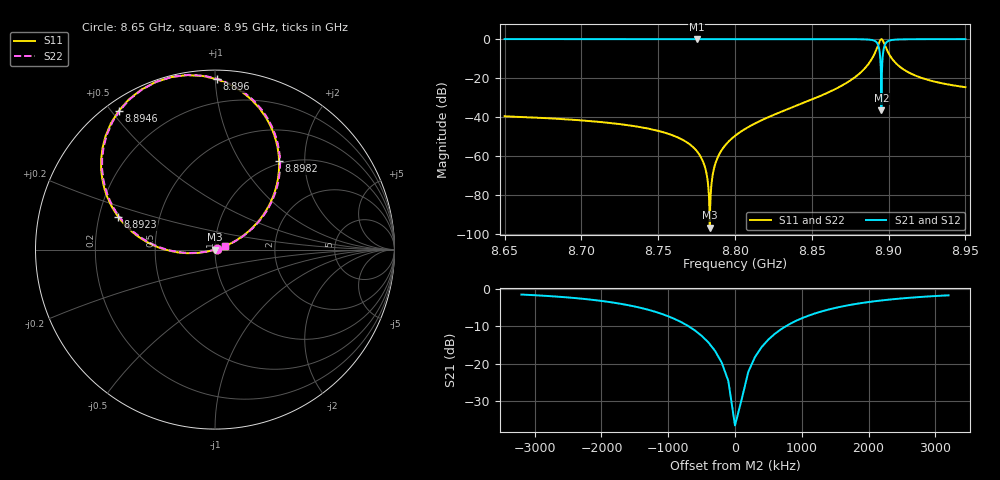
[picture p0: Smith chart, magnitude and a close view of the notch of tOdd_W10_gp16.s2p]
! Sonnet Data File
! From: emgraph Version : 16.52
! From Project: transmon_trial2
! Data is De-embedded
! Data File Written: 10/19/2017 21:40:57
!< HDATE 10/19/2017 20:11:27
!< MDATE 10/19/2017 20:13:29
!< PARAMS
!< Lj = 15.24
!< Gap = 16.0
!< Width = 10.0
!< Airgap = 6.0
!< Pwidth = 2000.0
!< END PARAMS
# GHZ S MA R 34.70000
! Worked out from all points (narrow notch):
!   3001 points, 8.65 GHz to 8.95 GHz, reference 34.7 ohm
!   highest |S21| = 0.00 dB at 8.775 GHz (marker M1); lowest = -36.4 dB at 8.8953 GHz (marker M2)
!   notch at M2: 36.4 dB deep, 545 kHz wide at half that depth
!   lowest |S11| = -96.5 dB at 8.7836 GHz (marker M3), VSWR 1.00, Z = 34.7 - j0.00104 ohm
!   |S11| at or under -10 dB: start of sweep to 8.8892 GHz; 8.9022 GHz to end of sweep
!   |S22| runs from -96.9 to -0.1 dB; largest |S21 - S12| = 0
!   S11 on the Smith chart (normalised r, x): 8.65 GHz: 1.02, +0.01; 8.8923 GHz: 0.28, +0.15; 8.8946 GHz: 0.04, +0.52; 8.896 GHz: 0.05, +1.01; 8.8982 GHz: 0.95, +1.50; 8.95 GHz: 1.12, +0.04
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8.65  0.01058 18.8  0.9999 -71.4  0.9999 -71.4  0.01058 18.4
!< P1 F=8.65 Eeff=(5.13426974 -5.6456e-5) Z0=(34.6544633 -9.2759e-5) R=0.0 C=0.0
!< P2 F=8.65 Eeff=(5.13426974 -5.6456e-5) Z0=(34.6544633 -9.2759e-5) R=0.0 C=0.0
8.7  0.008313 18.2  1 -71.9  1 -71.9  0.008313 17.8
8.75  0.004486 17.5  1 -72.6  1 -72.6  0.004486 17.3
8.7653  0.002729 17.2  1 -72.8  1 -72.8  0.002729 17.2
8.775  0.001384 16.7  1 -73.0  1 -73.0  0.001384 17.3
8.7797  0.0006511 16.0  1 -73.0  1 -73.0  0.0006511 17.8
8.7836  1.496e-05 -87.5  1 -73.1  1 -73.1  1.423e-05 121.9
8.7868  0.0005762 -161.4  1 -73.2  1 -73.2  0.0005762 -164.9
8.7892  0.001028 -162.1  1 -73.2  1 -73.2  0.001028 -164.3
8.8  0.003342 -162.9  1 -73.4  1 -73.4  0.003342 -164.0
8.85  0.0284 -165.0  0.9996 -75.3  0.9996 -75.3  0.0284 -165.7
8.879  0.1125 -170.1  0.9935 -80.4  0.9935 -80.4  0.1125 -170.8
8.8889  0.3023 178.6  0.9523 -91.6  0.9523 -91.6  0.3023 177.9
8.8923  0.5694 161.2  0.8187 -108.7  0.8187 -108.7  0.5694 160.6
8.8946  0.9404 124.8  0.3185 -144.1  0.3185 -144.1  0.9404 124.2
8.8953  0.9921 107.0  0.01515 -132.1  0.01515 -132.1  0.9921 106.4
8.896  0.9488 89.2  0.2927 -2.5  0.2927 -2.5  0.9488 88.6
8.8982  0.6099 54.2  0.7889 -36.5  0.7889 -36.5  0.6099 53.5
8.9  0.4341 42.2  0.8993 -48.4  0.8993 -48.4  0.4341 41.5
8.9049  0.2383 30.1  0.9708 -60.3  0.9708 -60.3  0.2383 29.4
8.9161  0.1226 23.2  0.9924 -67.2  0.9924 -67.2  0.1226 22.5
8.95  0.05881 19.2  0.9982 -71.1  0.9982 -71.1  0.05881 18.6
